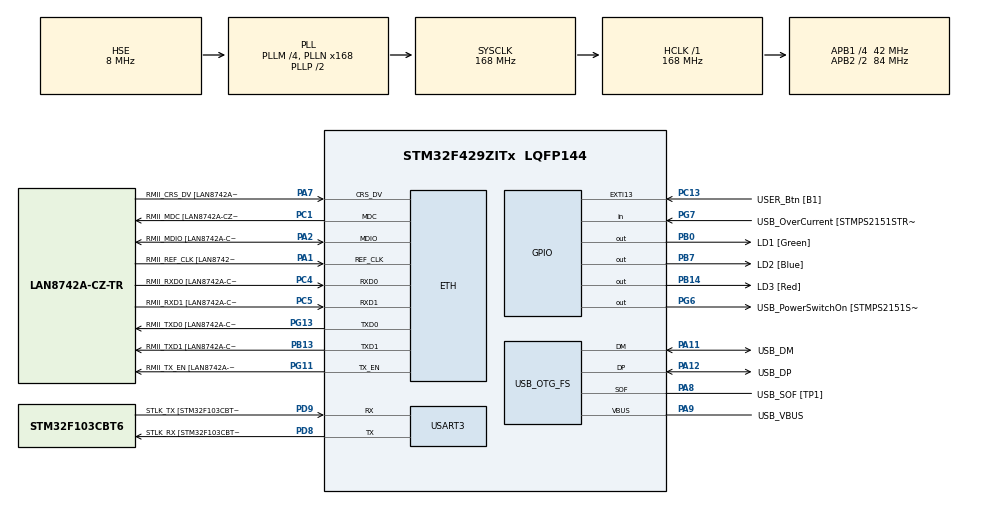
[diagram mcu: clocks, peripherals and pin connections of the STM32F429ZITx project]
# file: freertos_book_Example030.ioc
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ETH.MediaInterface=HAL_ETH_RMII_MODE
ETH.PHY_Name=LAN8742A_PHY_ADDRESS
ETH.PHY_Value=0
ETH.PhyAddress=0
FREERTOS.MEMORY_ALLOCATION=0
FREERTOS.Tasks01=defaultTask,0,128,StartDefaultTask,Default,NULL,Dynamic,NULL,NULL
FREERTOS.configUSE_NEWLIB_REENTRANT=1
Mcu.Family=STM32F4
Mcu.Name=STM32F429ZITx
Mcu.Package=LQFP144
NVIC.PriorityGroup=NVIC_PRIORITYGROUP_4
NVIC.TIM7_IRQn=true\:15\:0\:false\:false\:true\:false\:false\:true\:true
NVIC.TimeBase=TIM7_IRQn
NVIC.TimeBaseIP=TIM7
PA1.GPIO_Label=RMII_REF_CLK [LAN8742A-CZ-TR_REFCLK0]
PA1.Mode=RMII
PA1.Signal=ETH_REF_CLK
PA10.GPIO_Label=USB_ID
PA10.Signal=USB_OTG_FS_ID
PA11.GPIO_Label=USB_DM
PA11.Mode=Device_Only
PA11.Signal=USB_OTG_FS_DM
PA12.GPIO_Label=USB_DP
PA12.Mode=Device_Only
PA12.Signal=USB_OTG_FS_DP
PA13.GPIO_Label=TMS
PA13.Mode=Serial_Wire
PA13.Signal=SYS_JTMS-SWDIO
PA14.GPIO_Label=TCK
PA14.Mode=Serial_Wire
PA14.Signal=SYS_JTCK-SWCLK
PA2.GPIO_Label=RMII_MDIO [LAN8742A-CZ-TR_MDIO]
PA2.Mode=RMII
PA2.Signal=ETH_MDIO
PA7.GPIO_Label=RMII_CRS_DV [LAN8742A-CZ-TR_CRS_DV]
PA7.Mode=RMII
PA7.Signal=ETH_CRS_DV
PA8.GPIO_Label=USB_SOF [TP1]
PA8.Mode=Activate_SOF_FS
PA8.Signal=USB_OTG_FS_SOF
PA9.GPIO_Label=USB_VBUS
PA9.Mode=Activate_VBUS
PA9.Signal=USB_OTG_FS_VBUS
PB0.GPIO_Label=LD1 [Green]
PB0.Signal=GPIO_Output
PB13.GPIO_Label=RMII_TXD1 [LAN8742A-CZ-TR_TXD1]
PB13.Mode=RMII
PB13.Signal=ETH_TXD1
PB14.GPIO_Label=LD3 [Red]
PB14.Signal=GPIO_Output
PB7.GPIO_Label=LD2 [Blue]
PB7.Signal=GPIO_Output
PC1.GPIO_Label=RMII_MDC [LAN8742A-CZ-TR_MDC]
PC1.Mode=RMII
PC1.Signal=ETH_MDC
PC13.GPIO_Label=USER_Btn [B1]
PC13.Signal=GPXTI13
PC14/OSC32_IN.Mode=LSE-External-Oscillator
PC14/OSC32_IN.Signal=RCC_OSC32_IN
PC15/OSC32_OUT.Mode=LSE-External-Oscillator
PC15/OSC32_OUT.Signal=RCC_OSC32_OUT
PC4.GPIO_Label=RMII_RXD0 [LAN8742A-CZ-TR_RXD0]
PC4.Mode=RMII
PC4.Signal=ETH_RXD0
PC5.GPIO_Label=RMII_RXD1 [LAN8742A-CZ-TR_RXD1]
PC5.Mode=RMII
PC5.Signal=ETH_RXD1
PD8.GPIO_Label=STLK_RX [STM32F103CBT6_PA3]
PD8.Mode=Asynchronous
PD8.Signal=USART3_TX
PD9.GPIO_Label=STLK_TX [STM32F103CBT6_PA2]
PD9.Mode=Asynchronous
PD9.Signal=USART3_RX
PG11.GPIO_Label=RMII_TX_EN [LAN8742A-CZ-TR_TXEN]
PG11.Mode=RMII
PG11.Signal=ETH_TX_EN
PG13.GPIO_Label=RMII_TXD0 [LAN8742A-CZ-TR_TXD0]
PG13.Mode=RMII
PG13.Signal=ETH_TXD0
PG6.GPIO_Label=USB_PowerSwitchOn [STMPS2151STR_EN]
PG6.Signal=GPIO_Output
PG7.GPIO_Label=USB_OverCurrent [STMPS2151STR_FAULT]
PG7.Signal=GPIO_Input
PH0/OSC_IN.GPIO_Label=MCO [STM32F103CBT6_PA8]
PH0/OSC_IN.Mode=HSE-External-Clock-Source
PH0/OSC_IN.Signal=RCC_OSC_IN
PH1/OSC_OUT.Mode=HSE-External-Clock-Source
PH1/OSC_OUT.Signal=RCC_OSC_OUT
ProjectManager.HeapSize=0x200
ProjectManager.StackSize=0x400
ProjectManager.TargetToolchain=STM32CubeIDE
RCC.48MHZClocksFreq_Value=48000000
RCC.AHBFreq_Value=168000000
RCC.APB1CLKDivider=RCC_HCLK_DIV4
RCC.APB1Freq_Value=42000000
RCC.APB1TimFreq_Value=84000000
RCC.APB2CLKDivider=RCC_HCLK_DIV2
RCC.APB2Freq_Value=84000000
RCC.APB2TimCLKDivider=2
RCC.APB2TimFreq_Value=168000000
RCC.CortexFreq_Value=168000000
RCC.HCLKFreq_Value=168000000
RCC.HSE_VALUE=8000000
RCC.HSI_VALUE=16000000
RCC.PLLM=4
RCC.PLLMUL=RCC_PLL_MUL9
RCC.PLLN=168
RCC.PLLQ=7
RCC.PRESCALERUSB=RCC_USBCLKSOURCE_PLL_DIV1_5
RCC.SYSCLKFreq_VALUE=168000000
RCC.SYSCLKSource=RCC_SYSCLKSOURCE_PLLCLK
RCC.SYSCLKSourceVirtual=RCC_SYSCLKSOURCE_PLLCLK
RCC.USBFreq_Value=48000000
RCC.VCOOutputFreq_Value=336000000
USART3.VirtualMode=VM_ASYNC
USB_OTG_FS.VirtualMode=Device_Only
VP_FREERTOS_VS_CMSIS_V1.Mode=CMSIS_V1
VP_SYS_VS_tim7.Mode=TIM7
board=NUCLEO-F429ZI

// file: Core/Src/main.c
/* USER CODE BEGIN Header */
/**
  ******************************************************************************
  * @file           : main.c
  * @brief          : Main program body
  ******************************************************************************
  * @attention
  *
  * Copyright (c) 2022 STMicroelectronics.
  * All rights reserved.
  *
  * This software is licensed under terms that can be found in the LICENSE file
  * in the root directory of this software component.
  * If no LICENSE file comes with this software, it is provided AS-IS.
  *
  ******************************************************************************
  */
/* USER CODE END Header */
#include "main.h"
#include "string.h"
#include "cmsis_os.h"

/* USER CODE BEGIN Includes */
/* Standard includes. */
#include <stdio.h>
#include <stdlib.h>

/* Demo includes. */
#include "supportingFunctions.h"

/* USER CODE END Includes */

ETH_TxPacketConfig TxConfig;
ETH_DMADescTypeDef  DMARxDscrTab[ETH_RX_DESC_CNT]; /* Ethernet Rx DMA Descriptors */
ETH_DMADescTypeDef  DMATxDscrTab[ETH_TX_DESC_CNT]; /* Ethernet Tx DMA Descriptors */

ETH_HandleTypeDef heth;

UART_HandleTypeDef huart3;

PCD_HandleTypeDef hpcd_USB_OTG_FS;

osThreadId defaultTaskHandle;
/* USER CODE BEGIN PV */
/* Declare two variables of type SemaphoreHandle_t.  This is used to reference the
binary type semaphores that are used to synchronize tasks. */
SemaphoreHandle_t BinarySemaphore1Handle;
SemaphoreHandle_t BinarySemaphore2Handle;

/* USER CODE END PV */

void SystemClock_Config(void);
static void MX_GPIO_Init(void);
static void MX_ETH_Init(void);
static void MX_USART3_UART_Init(void);
static void MX_USB_OTG_FS_PCD_Init(void);
void StartDefaultTask(void const * argument);

/* USER CODE BEGIN PFP */
void vTask1(void *pvParameters);
void vTask2(void *pvParameters);

/* USER CODE END PFP */

int main(void)
{
  /* USER CODE BEGIN 1 */
	const char *pcTextForMain = "freertos_book_Example030 is running: Synchronizing tasks\r\n\n";

  /* USER CODE END 1 */

  /* MCU Configuration--------------------------------------------------------*/

  /* Reset of all peripherals, Initializes the Flash interface and the Systick. */
  HAL_Init();

  /* Configure the system clock */
  SystemClock_Config();

  /* Initialize all configured peripherals */
  MX_GPIO_Init();
  MX_ETH_Init();
  MX_USART3_UART_Init();
  MX_USB_OTG_FS_PCD_Init();
  /* USER CODE BEGIN 2 */
	/* Print out the name of this Example. */
	vPrintString( pcTextForMain );

  /* USER CODE END 2 */

  /* USER CODE BEGIN RTOS_SEMAPHORES */
  /* add semaphores, ... */
    /* Before a semaphore is used it must be explicitly created. */
	BinarySemaphore1Handle = xSemaphoreCreateBinary();
	BinarySemaphore2Handle = xSemaphoreCreateBinary();

    /* Check the semaphore was created successfully */
    configASSERT( BinarySemaphore1Handle != NULL );
    configASSERT( BinarySemaphore2Handle != NULL );

  /* USER CODE END RTOS_SEMAPHORES */

  /* Create the thread(s) */
  /* definition and creation of defaultTask */
  osThreadDef(defaultTask, StartDefaultTask, osPriorityNormal, 0, 128);
  defaultTaskHandle = osThreadCreate(osThread(defaultTask), NULL);

  /* USER CODE BEGIN RTOS_THREADS */
  /* add threads, ... */
	BaseType_t ret;

	/* Task 1 thread at priority 1 */
	ret = xTaskCreate( vTask1,						/* Pointer to the function thats implement the task. */
					   "Task 1",					/* Text name for the task. This is to facilitate debugging only. */
					   (2 * configMINIMAL_STACK_SIZE),	/* Stack depth in words. 				*/
					   NULL,						/* We are not using the task parameter.		*/
					   (tskIDLE_PRIORITY + 1UL),	/* This task will run at priority 1. 		*/
		               NULL );          	        /* We are not using the task handle. */

	/* Check the task was created successfully. */
	configASSERT( ret == pdPASS );

	/* Task 2 thread at priority 1 */
	ret = xTaskCreate( vTask2,						/* Pointer to the function thats implement the task. */
					   "Task 2",					/* Text name for the task. This is to facilitate debugging only. */
					   (2 * configMINIMAL_STACK_SIZE),	/* Stack depth in words. 				*/
					   NULL,						/* We are not using the task parameter.		*/
					   (tskIDLE_PRIORITY + 1UL),	/* This task will run at priority 1. 		*/
		               NULL );          	        /* We are not using the task handle. */

	/* Check the task was created successfully. */
	configASSERT( ret == pdPASS );

  /* USER CODE END RTOS_THREADS */

  /* Start scheduler */
  osKernelStart();

  /* We should never get here as control is now taken by the scheduler */
  /* Infinite loop */
  while (1)
  {

  }
}

void SystemClock_Config(void)
{
  RCC_OscInitTypeDef RCC_OscInitStruct = {0};
  RCC_ClkInitTypeDef RCC_ClkInitStruct = {0};

  /** Configure the main internal regulator output voltage
  */
  __HAL_RCC_PWR_CLK_ENABLE();
  __HAL_PWR_VOLTAGESCALING_CONFIG(PWR_REGULATOR_VOLTAGE_SCALE1);

  /** Initializes the RCC Oscillators according to the specified parameters
  * in the RCC_OscInitTypeDef structure.
  */
  RCC_OscInitStruct.OscillatorType = RCC_OSCILLATORTYPE_HSE;
  RCC_OscInitStruct.HSEState = RCC_HSE_BYPASS;
  RCC_OscInitStruct.PLL.PLLState = RCC_PLL_ON;
  RCC_OscInitStruct.PLL.PLLSource = RCC_PLLSOURCE_HSE;
  RCC_OscInitStruct.PLL.PLLM = 4;
  RCC_OscInitStruct.PLL.PLLN = 168;
  RCC_OscInitStruct.PLL.PLLP = RCC_PLLP_DIV2;
  RCC_OscInitStruct.PLL.PLLQ = 7;
  if (HAL_RCC_OscConfig(&RCC_OscInitStruct) != HAL_OK)
  {
    Error_Handler();
  }

  /** Initializes the CPU, AHB and APB buses clocks
  */
  RCC_ClkInitStruct.ClockType = RCC_CLOCKTYPE_HCLK|RCC_CLOCKTYPE_SYSCLK
                              |RCC_CLOCKTYPE_PCLK1|RCC_CLOCKTYPE_PCLK2;
  RCC_ClkInitStruct.SYSCLKSource = RCC_SYSCLKSOURCE_PLLCLK;
  RCC_ClkInitStruct.AHBCLKDivider = RCC_SYSCLK_DIV1;
  RCC_ClkInitStruct.APB1CLKDivider = RCC_HCLK_DIV4;
  RCC_ClkInitStruct.APB2CLKDivider = RCC_HCLK_DIV2;

  if (HAL_RCC_ClockConfig(&RCC_ClkInitStruct, FLASH_LATENCY_5) != HAL_OK)
  {
    Error_Handler();
  }
}

static void MX_ETH_Init(void)
{

   static uint8_t MACAddr[6];

  heth.Instance = ETH;
  MACAddr[0] = 0x00;
  MACAddr[1] = 0x80;
  MACAddr[2] = 0xE1;
  MACAddr[3] = 0x00;
  MACAddr[4] = 0x00;
  MACAddr[5] = 0x00;
  heth.Init.MACAddr = &MACAddr[0];
  heth.Init.MediaInterface = HAL_ETH_RMII_MODE;
  heth.Init.TxDesc = DMATxDscrTab;
  heth.Init.RxDesc = DMARxDscrTab;
  heth.Init.RxBuffLen = 1524;

  if (HAL_ETH_Init(&heth) != HAL_OK)
  {
    Error_Handler();
  }

  memset(&TxConfig, 0 , sizeof(ETH_TxPacketConfig));
  TxConfig.Attributes = ETH_TX_PACKETS_FEATURES_CSUM | ETH_TX_PACKETS_FEATURES_CRCPAD;
  TxConfig.ChecksumCtrl = ETH_CHECKSUM_IPHDR_PAYLOAD_INSERT_PHDR_CALC;
  TxConfig.CRCPadCtrl = ETH_CRC_PAD_INSERT;

}

static void MX_USART3_UART_Init(void)
{

  huart3.Instance = USART3;
  huart3.Init.BaudRate = 115200;
  huart3.Init.WordLength = UART_WORDLENGTH_8B;
  huart3.Init.StopBits = UART_STOPBITS_1;
  huart3.Init.Parity = UART_PARITY_NONE;
  huart3.Init.Mode = UART_MODE_TX_RX;
  huart3.Init.HwFlowCtl = UART_HWCONTROL_NONE;
  huart3.Init.OverSampling = UART_OVERSAMPLING_16;
  if (HAL_UART_Init(&huart3) != HAL_OK)
  {
    Error_Handler();
  }

}

static void MX_USB_OTG_FS_PCD_Init(void)
{

  hpcd_USB_OTG_FS.Instance = USB_OTG_FS;
  hpcd_USB_OTG_FS.Init.dev_endpoints = 4;
  hpcd_USB_OTG_FS.Init.speed = PCD_SPEED_FULL;
  hpcd_USB_OTG_FS.Init.dma_enable = DISABLE;
  hpcd_USB_OTG_FS.Init.phy_itface = PCD_PHY_EMBEDDED;
  hpcd_USB_OTG_FS.Init.Sof_enable = ENABLE;
  hpcd_USB_OTG_FS.Init.low_power_enable = DISABLE;
  hpcd_USB_OTG_FS.Init.lpm_enable = DISABLE;
  hpcd_USB_OTG_FS.Init.vbus_sensing_enable = ENABLE;
  hpcd_USB_OTG_FS.Init.use_dedicated_ep1 = DISABLE;
  if (HAL_PCD_Init(&hpcd_USB_OTG_FS) != HAL_OK)
  {
    Error_Handler();
  }

}

static void MX_GPIO_Init(void)
{
  GPIO_InitTypeDef GPIO_InitStruct = {0};

  /* GPIO Ports Clock Enable */
  __HAL_RCC_GPIOC_CLK_ENABLE();
  __HAL_RCC_GPIOH_CLK_ENABLE();
  __HAL_RCC_GPIOA_CLK_ENABLE();
  __HAL_RCC_GPIOB_CLK_ENABLE();
  __HAL_RCC_GPIOD_CLK_ENABLE();
  __HAL_RCC_GPIOG_CLK_ENABLE();

  /*Configure GPIO pin Output Level */
  HAL_GPIO_WritePin(GPIOB, LD1_Pin|LD3_Pin|LD2_Pin, GPIO_PIN_RESET);

  /*Configure GPIO pin Output Level */
  HAL_GPIO_WritePin(USB_PowerSwitchOn_GPIO_Port, USB_PowerSwitchOn_Pin, GPIO_PIN_RESET);

  /*Configure GPIO pin : USER_Btn_Pin */
  GPIO_InitStruct.Pin = USER_Btn_Pin;
  GPIO_InitStruct.Mode = GPIO_MODE_IT_RISING;
  GPIO_InitStruct.Pull = GPIO_NOPULL;
  HAL_GPIO_Init(USER_Btn_GPIO_Port, &GPIO_InitStruct);

  /*Configure GPIO pins : LD1_Pin LD3_Pin LD2_Pin */
  GPIO_InitStruct.Pin = LD1_Pin|LD3_Pin|LD2_Pin;
  GPIO_InitStruct.Mode = GPIO_MODE_OUTPUT_PP;
  GPIO_InitStruct.Pull = GPIO_NOPULL;
  GPIO_InitStruct.Speed = GPIO_SPEED_FREQ_LOW;
  HAL_GPIO_Init(GPIOB, &GPIO_InitStruct);

  /*Configure GPIO pin : USB_PowerSwitchOn_Pin */
  GPIO_InitStruct.Pin = USB_PowerSwitchOn_Pin;
  GPIO_InitStruct.Mode = GPIO_MODE_OUTPUT_PP;
  GPIO_InitStruct.Pull = GPIO_NOPULL;
  GPIO_InitStruct.Speed = GPIO_SPEED_FREQ_LOW;
  HAL_GPIO_Init(USB_PowerSwitchOn_GPIO_Port, &GPIO_InitStruct);

  /*Configure GPIO pin : USB_OverCurrent_Pin */
  GPIO_InitStruct.Pin = USB_OverCurrent_Pin;
  GPIO_InitStruct.Mode = GPIO_MODE_INPUT;
  GPIO_InitStruct.Pull = GPIO_NOPULL;
  HAL_GPIO_Init(USB_OverCurrent_GPIO_Port, &GPIO_InitStruct);

}

/* USER CODE BEGIN 4 */

/* USER CODE BEGIN Header_vTask1 */
/**
  * @brief  Function implementing the Task1 thread.
  * @param  argument: Not used
  * @retval None
  */
/* USER CODE END Header_vTask1 */
void vTask1(void *pvParameters)
{
	/* Print out the name of this task. */
	vPrintString( "Task 1 is running\r\n" );

	/* As per most tasks, this task is implemented within an infinite loop.

	Take the semaphore once to start with so the semaphore is empty before the
	infinite loop is entered.  The semaphore was created before the scheduler
	was started so before this task ran for the first time.*/
	xSemaphoreTake( BinarySemaphore1Handle, (portTickType) 0 );

	/* As per most tasks, this task is implemented within an infinite loop. */
	for( ;; )
	{
		/* Use the semaphore to wait for the event.  The task blocks
	    indefinitely meaning this function call will only return once the
	    semaphore has been successfully obtained - so there is no need to check
	    the returned value. */
	    vPrintString( "      ==> Task 1 - Wait:   Binary Semaphore 1 \r\n\n" );

	    xSemaphoreTake( BinarySemaphore1Handle, portMAX_DELAY );
	    {
	    	/* The following line will only execute once the semaphore has been
    	   	successfully obtained - so standard out can be accessed freely. */

	    	/* 'Give' the semaphore to unblock the task. */
	    	vPrintString( "      ==> Task 1 - Signal: Binary Semaphore 2 \r\n\n" );

			xSemaphoreGive( BinarySemaphore2Handle );
	    }
	}
}

/* USER CODE BEGIN Header_vTask2 */
/**
* @brief Function implementing the Task2 thread.
* @param argument: Not used
* @retval None
*/
/* USER CODE END Header_vTask2 */
void vTask2(void *pvParameters)
{
	/* Print out the name of this task. */
	vPrintString( "Task 2 is running\r\n" );

	/* As per most tasks, this task is implemented within an infinite loop.

	Take the semaphore once to start with so the semaphore is empty before the
	infinite loop is entered.  The semaphore was created before the scheduler
	was started so before this task ran for the first time.*/
    xSemaphoreTake( BinarySemaphore2Handle, (portTickType) 0 );

	/* As per most tasks, this task is implemented within an infinite loop. */
	for( ;; )
	{
   		/* 'Give' the semaphore to unblock the task. */
   		vPrintString( "      ==> Task 2 - Signal: Binary Semaphore 1 \r\n\n" );

   		xSemaphoreGive( BinarySemaphore1Handle );

   		/* Use the semaphore to wait for the event.  The task blocks
        indefinitely meaning this function call will only return once the
        semaphore has been successfully obtained - so there is no need to check
        the returned value. */
    	vPrintString( "      ==> Task 2 - Wait:   Binary Semaphore 2 \r\n\n" );

    	xSemaphoreTake( BinarySemaphore2Handle, portMAX_DELAY );
    	{
   		/* The following line will only execute once the semaphore has been
	   	successfully obtained - so standard out can be accessed freely. */
    	}
	}
}

/* USER CODE END 4 */

void StartDefaultTask(void const * argument)
{
  /* USER CODE BEGIN 5 */
  /* Infinite loop */
  for(;;)
  {
    osDelay(50000);
  }
  /* USER CODE END 5 */
}

void HAL_TIM_PeriodElapsedCallback(TIM_HandleTypeDef *htim)
{
  if (htim->Instance == TIM7) {
    HAL_IncTick();
  }
}

void Error_Handler(void)
{
  __disable_irq();
  while (1)
  {
  }
}
